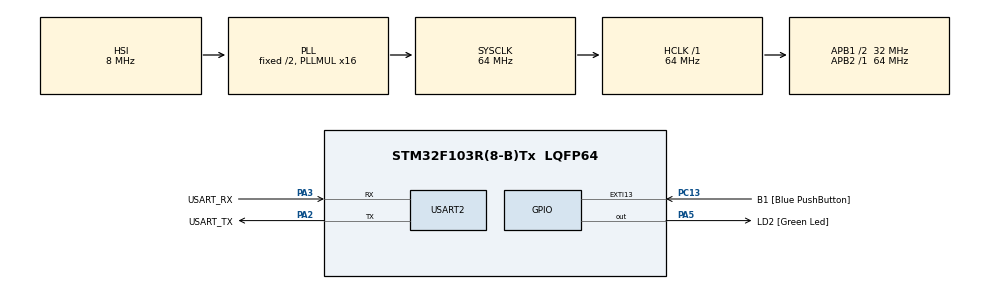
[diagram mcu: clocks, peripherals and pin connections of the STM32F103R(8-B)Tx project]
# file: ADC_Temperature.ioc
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ADC1.Channel-0\#ChannelRegularConversion=ADC_CHANNEL_TEMPSENSOR
ADC1.ContinuousConvMode=ENABLE
ADC1.NbrOfConversionFlag=1
ADC1.Rank-0\#ChannelRegularConversion=1
ADC1.SamplingTime-0\#ChannelRegularConversion=ADC_SAMPLETIME_239CYCLES_5
ADC1.master=1
Mcu.Family=STM32F1
Mcu.Name=STM32F103R(8-B)Tx
Mcu.Package=LQFP64
NVIC.EXTI15_10_IRQn=true\:0\:0\:false\:false\:true\:true\:true\:true
NVIC.PriorityGroup=NVIC_PRIORITYGROUP_4
PA13.GPIO_Label=TMS
PA13.Mode=Serial_Wire
PA13.Signal=SYS_JTMS-SWDIO
PA14.GPIO_Label=TCK
PA14.Mode=Serial_Wire
PA14.Signal=SYS_JTCK-SWCLK
PA2.GPIO_Label=USART_TX
PA2.GPIO_Mode=GPIO_MODE_AF_PP
PA2.GPIO_PuPd=GPIO_NOPULL
PA2.GPIO_Speed=GPIO_SPEED_FREQ_LOW
PA2.Mode=Asynchronous
PA2.Signal=USART2_TX
PA3.GPIO_Label=USART_RX
PA3.GPIO_Mode=GPIO_MODE_INPUT
PA3.GPIO_PuPd=GPIO_NOPULL
PA3.Mode=Asynchronous
PA3.Signal=USART2_RX
PA5.GPIO_Label=LD2 [Green Led]
PA5.GPIO_ModeDefaultOutputPP=GPIO_MODE_OUTPUT_PP
PA5.GPIO_PuPd=GPIO_NOPULL
PA5.GPIO_Speed=GPIO_SPEED_FREQ_LOW
PA5.Signal=GPIO_Output
PB3.GPIO_Label=SWO
PB3.Signal=SYS_JTDO-TRACESWO
PC13-TAMPER-RTC.GPIO_Label=B1 [Blue PushButton]
PC13-TAMPER-RTC.GPIO_PuPd=GPIO_NOPULL
PC13-TAMPER-RTC.Signal=GPXTI13
PC14-OSC32_IN.Mode=LSE-External-Oscillator
PC14-OSC32_IN.Signal=RCC_OSC32_IN
PC15-OSC32_OUT.Mode=LSE-External-Oscillator
PC15-OSC32_OUT.Signal=RCC_OSC32_OUT
PD0-OSC_IN.Mode=HSE-External-Clock-Source
PD0-OSC_IN.Signal=RCC_OSC_IN
PD1-OSC_OUT.Mode=HSE-External-Clock-Source
PD1-OSC_OUT.Signal=RCC_OSC_OUT
ProjectManager.HeapSize=0x200
ProjectManager.StackSize=0x400
ProjectManager.TargetToolchain=STM32CubeIDE
RCC.ADCPresc=RCC_ADCPCLK2_DIV8
RCC.AHBFreq_Value=64000000
RCC.APB1CLKDivider=RCC_HCLK_DIV2
RCC.APB1Freq_Value=32000000
RCC.APB1TimFreq_Value=64000000
RCC.APB2Freq_Value=64000000
RCC.APB2TimFreq_Value=64000000
RCC.HCLKFreq_Value=64000000
RCC.PLLMUL=RCC_PLL_MUL16
RCC.RTCClockSelection=RCC_RTCCLKSOURCE_LSE
RCC.SYSCLKFreq_VALUE=64000000
RCC.SYSCLKSource=RCC_SYSCLKSOURCE_PLLCLK
RCC.USBFreq_Value=64000000
USART2.VirtualMode=VM_ASYNC
VP_ADC1_TempSens_Input.Mode=IN-TempSens
board=NUCLEO-F103RB

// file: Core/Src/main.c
/* USER CODE BEGIN Header */
/**
  ******************************************************************************
  * @file           : main.c
  * @brief          : Main program body
  ******************************************************************************
  * @attention
  *
  * Copyright (c) 2026 STMicroelectronics.
  * All rights reserved.
  *
  * This software is licensed under terms that can be found in the LICENSE file
  * in the root directory of this software component.
  * If no LICENSE file comes with this software, it is provided AS-IS.
  *
  ******************************************************************************
  */
/**
 * 02_ADC_Temperature  —  [계층: HAL]  ADC1 내부 온도 센서(CH16) 폴링 변환 + 섭씨 환산 + UART 출력
 *
 * 01_ADC_Single 은 외부 핀 PA0(CH0)을 읽었다. 여기서는 같은 순서(교정 -> 시작 -> 폴링 -> 읽기)로
 * "핀이 없는 내부 채널"을 읽는 점만 다르다.
 *   ADC_CHANNEL_TEMPSENSOR = ADC1_IN16 (내부 온도 센서),  ADC_CHANNEL_VREFINT = ADC1_IN17 (내부 기준 전압)
 *
 * 온도 환산 (STM32F103xB 데이터시트, 온도 센서 특성)
 *   Vsense = raw * VDDA / 4095          (VDDA = 3.3V 로 가정)
 *   T[°C]  = (V25 - Vsense) / Avg_Slope + 25
 *            V25 = 1.43V (25°C 에서의 출력, 대표값),  Avg_Slope = 4.3mV/°C (온도가 오르면 전압은 내려간다)
 *   칩마다 V25 편차가 커서 절대 정확도는 수 °C 이상 벗어날 수 있다. 변화량 관찰용으로 적합하다.
 *   float 대신 정수 연산으로 0.1°C 단위(t10)를 구하고 printf 에서 정수/소수 부분으로 나눠 출력한다.
 *
 * 하드웨어 대응 (RM0008)
 *   ADC1_CR2.TSVREFE = 1 : 온도 센서/Vrefint 활성화. HAL 이 CH16/CH17 을 설정할 때 자동으로 켠다.
 *   ADC1_SMPR1 (SMP16)   : 샘플링 시간 239.5 사이클. 온도 센서는 소스 임피던스가 높아 최소 17.1us 필요
 *                          ADC 클럭 8MHz(PCLK2/8) 기준 (239.5 + 12.5)/8MHz = 31.5us 로 충족한다.
 *   ADC1_CR2.CAL         : HAL_ADCEx_Calibration_Start (변환 전 보정)
 *   ADC1_SR.EOC / DR     : HAL_ADC_PollForConversion / HAL_ADC_GetValue
 *
 * 외부 배선 필요 없음 (PA0 를 쓰지 않는다). 손으로 칩을 만지면 값이 조금 변한다.
 * 인터럽트/콜백 없음 (폴링 변환). ISR 은 SysTick_Handler(HAL_Delay 용)뿐이다.
 */
/* USER CODE END Header */
#include "main.h"

/* USER CODE BEGIN Includes */
#include <stdio.h>

/* USER CODE END Includes */

ADC_HandleTypeDef hadc1;

UART_HandleTypeDef huart2;

void SystemClock_Config(void);
static void MX_GPIO_Init(void);
static void MX_USART2_UART_Init(void);
static void MX_ADC1_Init(void);

/* USER CODE BEGIN 0 */
#ifdef __GNUC__
#define PUTCHAR_PROTOTYPE int __io_putchar(int ch)
#else
#define PUTCHAR_PROTOTYPE int fputc(int ch, FILE *f)
#endif
PUTCHAR_PROTOTYPE {
    if (ch == '\n')
        HAL_UART_Transmit(&huart2, (uint8_t*) "\r", 1, 0xFFFF);
    HAL_UART_Transmit(&huart2, (uint8_t*) &ch, 1, 0xFFFF);
    return ch;
}
/* USER CODE END 0 */

int main(void)
{

  /* MCU Configuration--------------------------------------------------------*/

  /* Reset of all peripherals, Initializes the Flash interface and the Systick. */
  HAL_Init();

  /* Configure the system clock */
  SystemClock_Config();

  /* Initialize all configured peripherals */
  MX_GPIO_Init();
  MX_USART2_UART_Init();
  MX_ADC1_Init();

  /* Infinite loop */
  /* USER CODE BEGIN WHILE */
  // Start ADC Calibration
  if( HAL_ADCEx_Calibration_Start(&hadc1) != HAL_OK )
  {
    Error_Handler();
  }
  if( HAL_ADC_Start(&hadc1) != HAL_OK )
  {
    Error_Handler();
  }

  uint16_t adc1;

  while (1)
  {
    // ADC1_SR.EOC 플래그 대기 후 ADC1_DR에서 내부 온도 센서(ADC1_IN16) 변환값(12bit, 0~4095) 읽기
    HAL_ADC_PollForConversion(&hadc1, 100);
    adc1 = HAL_ADC_GetValue(&hadc1);

    // Vsense[mV] = raw * 3300 / 4095  (VDDA = 3.3V 가정)
    int32_t vsense_mv = (int32_t)(adc1 * 3300UL / 4095);
    // T = (V25 - Vsense) / Avg_Slope + 25 를 0.1°C 단위 정수로 계산 (V25 = 1430mV, Avg_Slope = 4.3mV/°C)
    //   (1430 - mV) / 4.3 [°C] * 10 = (1430 - mV) * 100 / 43 [0.1°C]
    int32_t t10 = ((1430 - vsense_mv) * 100) / 43 + 250;
    int32_t t10_abs = (t10 < 0) ? -t10 : t10;
    printf("ADC TempSensor raw=%u (%ld mV) -> %s%ld.%ld C\n",
           (unsigned)adc1, (long)vsense_mv, (t10 < 0) ? "-" : "",
           (long)(t10_abs / 10), (long)(t10_abs % 10));
    /* USER CODE END WHILE */

    /* USER CODE BEGIN 3 */
    HAL_Delay(1000);
  }
  /* USER CODE END 3 */
}

void SystemClock_Config(void)
{
  RCC_OscInitTypeDef RCC_OscInitStruct = {0};
  RCC_ClkInitTypeDef RCC_ClkInitStruct = {0};
  RCC_PeriphCLKInitTypeDef PeriphClkInit = {0};

  /** Initializes the RCC Oscillators according to the specified parameters
  * in the RCC_OscInitTypeDef structure.
  */
  RCC_OscInitStruct.OscillatorType = RCC_OSCILLATORTYPE_HSI;
  RCC_OscInitStruct.HSIState = RCC_HSI_ON;
  RCC_OscInitStruct.HSICalibrationValue = RCC_HSICALIBRATION_DEFAULT;
  RCC_OscInitStruct.PLL.PLLState = RCC_PLL_ON;
  RCC_OscInitStruct.PLL.PLLSource = RCC_PLLSOURCE_HSI_DIV2;
  RCC_OscInitStruct.PLL.PLLMUL = RCC_PLL_MUL16;
  if (HAL_RCC_OscConfig(&RCC_OscInitStruct) != HAL_OK)
  {
    Error_Handler();
  }

  /** Initializes the CPU, AHB and APB buses clocks
  */
  RCC_ClkInitStruct.ClockType = RCC_CLOCKTYPE_HCLK|RCC_CLOCKTYPE_SYSCLK
                              |RCC_CLOCKTYPE_PCLK1|RCC_CLOCKTYPE_PCLK2;
  RCC_ClkInitStruct.SYSCLKSource = RCC_SYSCLKSOURCE_PLLCLK;
  RCC_ClkInitStruct.AHBCLKDivider = RCC_SYSCLK_DIV1;
  RCC_ClkInitStruct.APB1CLKDivider = RCC_HCLK_DIV2;
  RCC_ClkInitStruct.APB2CLKDivider = RCC_HCLK_DIV1;

  if (HAL_RCC_ClockConfig(&RCC_ClkInitStruct, FLASH_LATENCY_2) != HAL_OK)
  {
    Error_Handler();
  }
  PeriphClkInit.PeriphClockSelection = RCC_PERIPHCLK_ADC;
  PeriphClkInit.AdcClockSelection = RCC_ADCPCLK2_DIV8;
  if (HAL_RCCEx_PeriphCLKConfig(&PeriphClkInit) != HAL_OK)
  {
    Error_Handler();
  }
}

static void MX_ADC1_Init(void)
{

  ADC_ChannelConfTypeDef sConfig = {0};

  /** Common config
  */
  hadc1.Instance = ADC1;
  hadc1.Init.ScanConvMode = ADC_SCAN_DISABLE;
  hadc1.Init.ContinuousConvMode = ENABLE;
  hadc1.Init.DiscontinuousConvMode = DISABLE;
  hadc1.Init.ExternalTrigConv = ADC_SOFTWARE_START;
  hadc1.Init.DataAlign = ADC_DATAALIGN_RIGHT;
  hadc1.Init.NbrOfConversion = 1;
  if (HAL_ADC_Init(&hadc1) != HAL_OK)
  {
    Error_Handler();
  }

  /** Configure Regular Channel
  */
  sConfig.Channel = ADC_CHANNEL_TEMPSENSOR;
  sConfig.Rank = ADC_REGULAR_RANK_1;
  sConfig.SamplingTime = ADC_SAMPLETIME_239CYCLES_5;
  if (HAL_ADC_ConfigChannel(&hadc1, &sConfig) != HAL_OK)
  {
    Error_Handler();
  }

}

static void MX_USART2_UART_Init(void)
{

  huart2.Instance = USART2;
  huart2.Init.BaudRate = 115200;
  huart2.Init.WordLength = UART_WORDLENGTH_8B;
  huart2.Init.StopBits = UART_STOPBITS_1;
  huart2.Init.Parity = UART_PARITY_NONE;
  huart2.Init.Mode = UART_MODE_TX_RX;
  huart2.Init.HwFlowCtl = UART_HWCONTROL_NONE;
  huart2.Init.OverSampling = UART_OVERSAMPLING_16;
  if (HAL_UART_Init(&huart2) != HAL_OK)
  {
    Error_Handler();
  }

}

static void MX_GPIO_Init(void)
{
  GPIO_InitTypeDef GPIO_InitStruct = {0};

  /* GPIO Ports Clock Enable */
  __HAL_RCC_GPIOC_CLK_ENABLE();
  __HAL_RCC_GPIOD_CLK_ENABLE();
  __HAL_RCC_GPIOA_CLK_ENABLE();
  __HAL_RCC_GPIOB_CLK_ENABLE();

  /*Configure GPIO pin Output Level */
  HAL_GPIO_WritePin(LD2_GPIO_Port, LD2_Pin, GPIO_PIN_RESET);

  /*Configure GPIO pin : B1_Pin */
  GPIO_InitStruct.Pin = B1_Pin;
  GPIO_InitStruct.Mode = GPIO_MODE_IT_RISING;
  GPIO_InitStruct.Pull = GPIO_NOPULL;
  HAL_GPIO_Init(B1_GPIO_Port, &GPIO_InitStruct);

  /*Configure GPIO pin : LD2_Pin */
  GPIO_InitStruct.Pin = LD2_Pin;
  GPIO_InitStruct.Mode = GPIO_MODE_OUTPUT_PP;
  GPIO_InitStruct.Pull = GPIO_NOPULL;
  GPIO_InitStruct.Speed = GPIO_SPEED_FREQ_LOW;
  HAL_GPIO_Init(LD2_GPIO_Port, &GPIO_InitStruct);

  /* EXTI interrupt init*/
  HAL_NVIC_SetPriority(EXTI15_10_IRQn, 0, 0);
  HAL_NVIC_EnableIRQ(EXTI15_10_IRQn);

}

void Error_Handler(void)
{
  __disable_irq();
  while (1)
  {
  }
}
